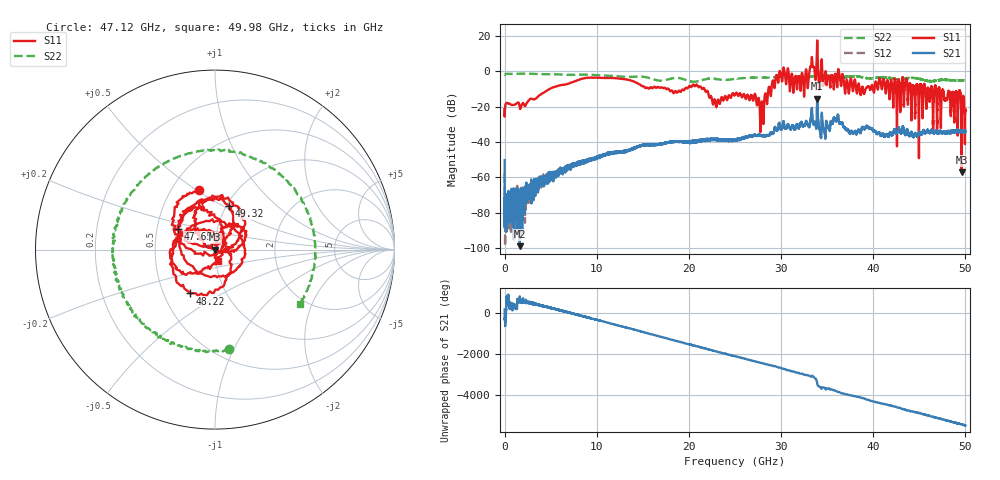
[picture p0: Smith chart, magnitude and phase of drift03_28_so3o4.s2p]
!Created with skrf (http://scikit-rf.org).
# Hz S RI R 50.0
!freq ReS11 ImS11 ReS21 ImS21 ReS12 ImS12 ReS22 ImS22
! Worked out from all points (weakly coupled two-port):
!   10001 points, 300 kHz to 50 GHz, reference 50 ohm
!   highest |S21| = -15.42 dB at 33.93 GHz (marker M1); lowest = -98.9 dB at 1.645 GHz (marker M2)
!   lowest |S11| = -57.1 dB at 49.59 GHz (marker M3), VSWR 1.00, Z = 49.9 - j0.0188 ohm
!   |S11| at or under -10 dB: start of sweep to 4.85 GHz; 21.69 GHz to 28.62 GHz (6.932 GHz wide, 27.6 % of centre); 47.19 GHz to end of sweep (the widest 3 of 40)
!   |S22| runs from -5.9 to -1.3 dB; largest |S21 - S12| = 0.021
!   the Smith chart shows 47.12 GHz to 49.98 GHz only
!   S11 on the Smith chart (normalised r, x): 47.12 GHz: 0.68, +0.51; 47.65 GHz: 0.64, +0.16; 48.22 GHz: 0.68, -0.36; 49.32 GHz: 1.03, +0.53; 49.98 GHz: 1.02, -0.13
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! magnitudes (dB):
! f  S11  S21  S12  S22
! 300 kHz  -21.4  -50.2  -57.8  -2.1
! 255.3 MHz  -17.9  -73.4  -76.2  -1.4
! 1.645 GHz  -20.7  -98.9  -76.3  -1.4
! 8.335 GHz  -4.3  -51.5  -51.3  -1.9
! 16.67 GHz  -8.8  -41.5  -41.4  -5.2
! 21.01 GHz  -8.7  -39.2  -39.0  -5.5
! 22.81 GHz  -16.1  -38.6  -38.5  -4.2
! 25 GHz  -13.4  -39.1  -38.9  -4.3
! 27.92 GHz  -17.1  -36.5  -36.6  -3.5
! 29.69 GHz  -6.4  -32.2  -31.8  -3.1
! 32.32 GHz  -1.5  -30.4  -30.7  -3.3
! 33.34 GHz  7.7  -20.7  -21.0  -2.9
! 33.93 GHz  17.3  -15.4  -15.8  -2.5
! 38.82 GHz  -9.0  -31.6  -31.8  -3.4
! 41.67 GHz  -9.0  -36.8  -36.6  -3.6
! 47.12 GHz  -9.3  -34.7  -34.6  -5.0
! 47.65 GHz  -12.5  -34.5  -34.4  -4.8
! 48.22 GHz  -11.0  -34.1  -34.5  -5.0
! 49.32 GHz  -11.9  -33.7  -34.6  -5.1
! 49.59 GHz  -57.1  -33.9  -34.2  -5.0
! 49.98 GHz  -23.8  -33.9  -34.0  -5.0
! 50 GHz  -21.7  -34.1  -33.6  -5.0
